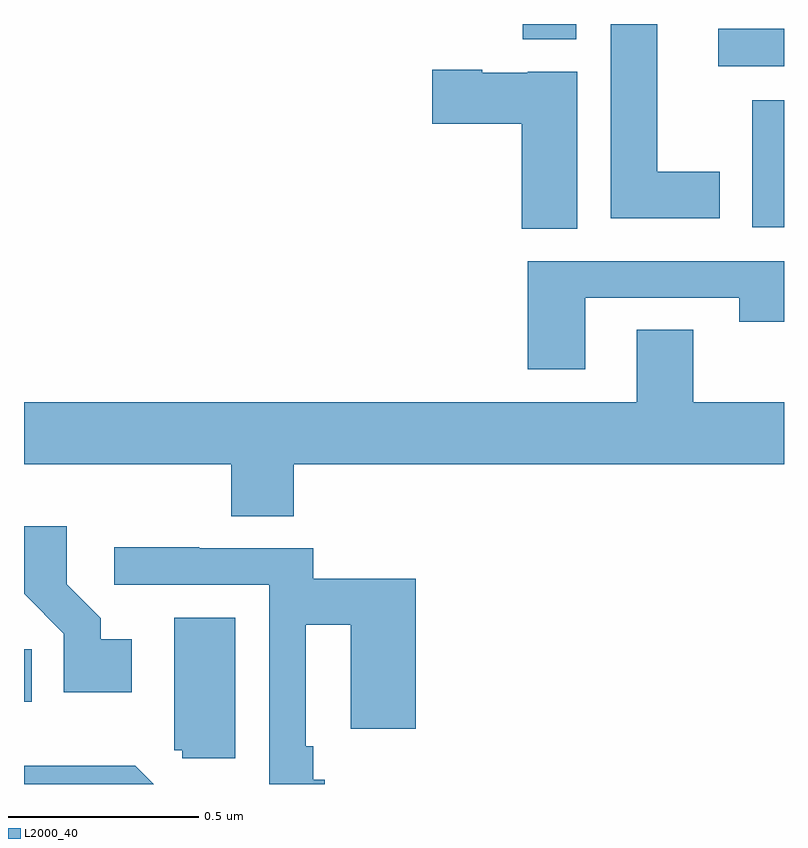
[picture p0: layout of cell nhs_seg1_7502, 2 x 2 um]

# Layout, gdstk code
import gdstk
lib = gdstk.Library(unit=1e-6, precision=1e-09)
def R(c, l, rs):  # rectangles x0, y0, x1, y1
    for r in rs: c.add(gdstk.rectangle(r[:2], r[2:], *l))
def P(c, l, *ps):  # polygons
    for p in ps: c.add(gdstk.Polygon(p, *l))
L2000_40 = (2000, 40)

nhs_seg1_7502 = lib.new_cell('nhs_seg1_7502')
R(nhs_seg1_7502, L2000_40, [(204,576.416,204.02,576.554), (205.916,577.664,206,577.999), (205.827,578.088,206,578.186), (205.313,578.159,205.453,578.199)])
P(nhs_seg1_7502, L2000_40, [(205.831,577.81),(205.666,577.81),(205.666,578.199),(205.544,578.199),(205.544,577.688),(205.831,577.688)],
  [(205.456,578.074),(205.326,578.074),(205.326,578.071),(205.206,578.071),(205.206,578.079),(205.074,578.079),(205.074,577.937),(205.31,577.937),(205.31,577.66),(205.456,577.66)],
  [(205.477,577.479),(205.882,577.479),(205.882,577.416),(206,577.416),(206,577.575),(205.325,577.575),(205.325,577.29),(205.477,577.29)],
  [(204.71,577.04),(206,577.04),(206,577.204),(205.761,577.204),(205.761,577.394),(205.613,577.394),(205.613,577.204),(204,577.204),(204,577.04),(204.545,577.04),(204.545,576.904),(204.71,576.904)],
  [(204.283,576.58),(204.202,576.58),(204.202,576.635),(204.112,576.725),(204.112,576.877),(204,576.877),(204,576.7),(204.105,576.595),(204.105,576.44),(204.283,576.44)],
  [(204.791,576.21),(204.761,576.21),(204.761,576.298),(204.741,576.298),(204.741,576.618),(204.86,576.618),(204.86,576.345),(205.031,576.345),(205.031,576.739),(204.761,576.739),(204.761,576.819),(204.461,576.819),(204.461,576.822),(204.237,576.822),(204.237,576.723),(204.645,576.723),(204.645,576.199),(204.791,576.199)],
  [(204.556,576.637),(204.395,576.637),(204.395,576.288),(204.417,576.288),(204.417,576.267),(204.556,576.267)],
  [(204.293,576.247),(204,576.247),(204,576.199),(204.341,576.199)])

lib.write_gds('nhs_seg1_7502.gds')
